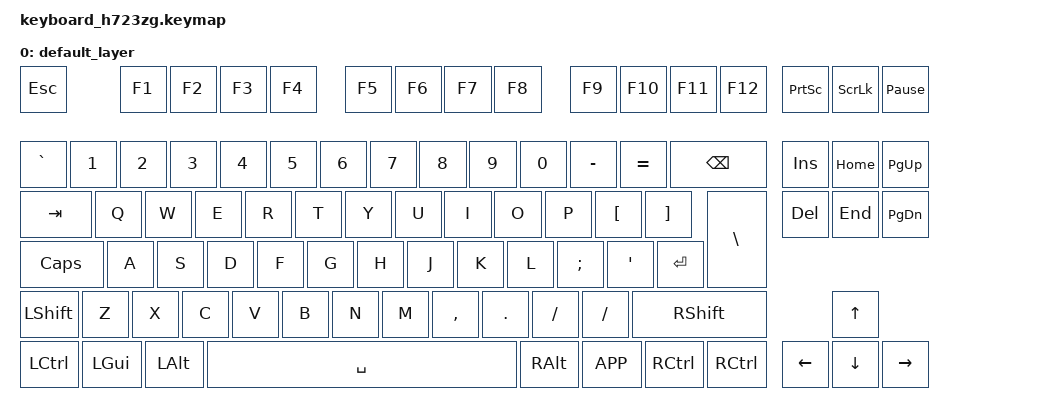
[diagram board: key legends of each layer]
/*
 * Copyright (c) 2026 Lawrence Langat <lawrencelangatmi@gmail.com>
 * SPDX-License-Identifier: Apache-2.0
 */

#include <behaviors.dtsi>
#include <dt-bindings/zmk/keys.h>
#include <dt-bindings/zmk/outputs.h>

/ {
    keymap {
        compatible = "zmk,keymap";

        default_layer {
            bindings = <
                &kp ESC   &kp F1    &kp F2    &kp F3    &kp F4    &kp F5    &kp F6    &kp F7    &kp F8    &kp F9    &kp F10   &kp F11   &kp F12             &kp PSCRN &kp SLCK  &kp PAUSE_BREAK
                &kp GRAVE &kp N1    &kp N2    &kp N3    &kp N4    &kp N5    &kp N6    &kp N7    &kp N8    &kp N9    &kp N0    &kp MINUS &kp EQUAL &kp BSPC  &kp INS   &kp HOME  &kp PG_UP
                &kp TAB   &kp Q     &kp W     &kp E     &kp R     &kp T     &kp Y     &kp U     &kp I     &kp O     &kp P     &kp LBKT  &kp RBKT  &kp BSLH  &kp DEL   &kp END   &kp PG_DN
                &kp CAPS  &kp A     &kp S     &kp D     &kp F     &kp G     &kp H     &kp J     &kp K     &kp L     &kp SEMI  &kp SQT   &kp RET   
                &kp LSHFT &kp Z     &kp X     &kp C     &kp V     &kp B     &kp N     &kp M     &kp COMMA &kp DOT   &kp FSLH  &kp FSLH  &kp RSHFT                     &kp UP
                &kp LCTRL &kp LGUI  &kp LALT                                &kp SPACE                               &kp RALT  &kp K_APP &kp RCTRL &kp RCTRL &kp LEFT  &kp DOWN  &kp RIGHT
            >;
        };
    };
};
